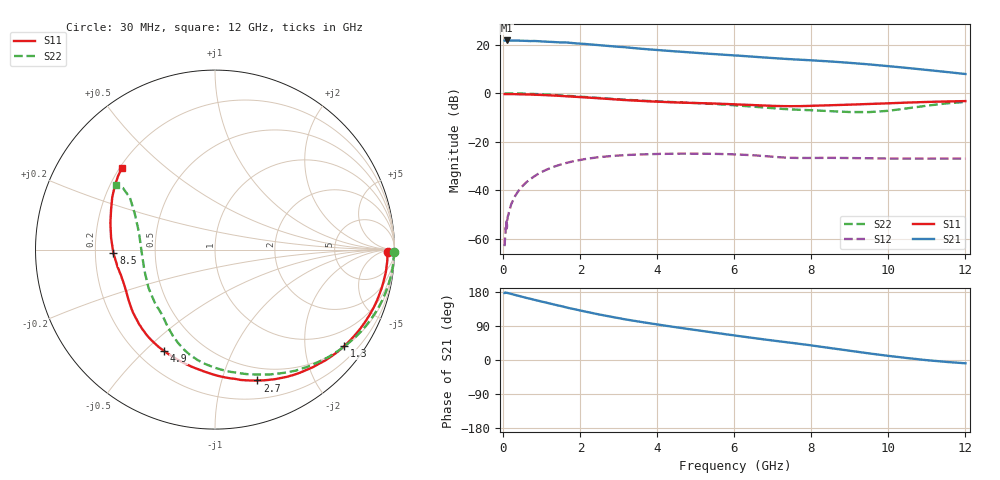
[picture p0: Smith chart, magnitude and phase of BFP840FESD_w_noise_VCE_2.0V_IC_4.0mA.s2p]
! Infineon Technologies  Discrete & RF Semiconductors
! BFP840FESD
! VCE =  2.0 V,  IC =  4.0 mA
! Common Emitter S-Parameters:  May 2012
# GHz  S  MA  R  50
!  f  S11  S21  S12  S22
! GHz  MAG  ANG  MAG  ANG  MAG  ANG  MAG  ANG
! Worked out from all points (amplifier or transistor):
!   103 points, 30 MHz to 12 GHz, reference 50 ohm
!   highest |S21| = 21.8 dB at 80 MHz (marker M1)
!   |S21| within 3 dB of that: start of sweep to 3.291 GHz
!   unconditionally stable (mu >= 1): 7.257 GHz to end of sweep
!   at 400 MHz: K = 0.07, MSG = 30.9 dB, |S12| = -40.1 dB
!   at 3.7 GHz: K = 0.31, MSG = 21.7 dB, |S12| = -25.2 dB
!   at 12 GHz: K = 1.30, MAG = 14.2 dB, |S12| = -27.0 dB
!   lowest NFmin = 0.53 dB at 450 MHz
!   S11 on the Smith chart (normalised r, x): 30 MHz: 45, -18; 1.3 GHz: 0.52, -2.92; 2.7 GHz: 0.37, -1.31; 4.9 GHz: 0.31, -0.58; 8.5 GHz: 0.28, -0.02; 12 GHz: 0.21, +0.36
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0.03  0.9624 -0.9  12.24 176.8  0.0007 84.7  0.9953 -0.7
0.04  0.9627 -1.2  12.23 176.7  0.001 72.2  0.9959 -0.9
0.05  0.9609 -1.5  12.28 178.1  0.0011 32.3  0.9965 -1.1
0.07  0.9621 -2.0  12.27 177.8  0.0014 91.1  0.9967 -1.6
0.08  0.9608 -2.3  12.3 177.4  0.0025 62.5  0.9961 -1.9
0.09  0.9613 -2.6  12.29 177.2  0.0017 72.9  0.9969 -2.0
0.14  0.9617 -4.1  12.24 176.1  0.0035 85.0  0.9964 -3.4
0.35  0.9563 -10.2  12.21 170.4  0.0087 82.0  0.9911 -8.5
0.8  0.9348 -23.0  11.99 158.9  0.0193 73.0  0.9669 -19.3
1.3  0.8986 -36.8  11.42 146.8  0.0303 62.9  0.9247 -31.2
1.6  0.8709 -45.2  11.24 139.6  0.0359 57.0  0.8937 -38.3
2.1  0.8241 -57.9  10.43 128.3  0.0436 47.6  0.84 -49.8
2.7  0.7663 -72.1  9.507 116.0  0.0498 37.6  0.7788 -62.3
3.4  0.7084 -87.2  8.542 103.3  0.0541 28.5  0.7194 -74.9
4.1  0.6657 -101.1  7.701 92.2  0.0563 21.2  0.6752 -85.6
4.9  0.6325 -116.6  6.93 80.4  0.0567 14.3  0.6335 -96.6
6.1  0.5867 -137.5  5.978 63.4  0.0545 5.4  0.5582 -111.8
7.2  0.5446 -156.5  5.202 48.8  0.0477 2.3  0.479 -126.4
8.5  0.5664 -178.0  4.529 31.4  0.0465 6.1  0.4274 -150.1
9.5  0.6015 165.7  3.944 17.4  0.0456 7.0  0.4089 -178.0
10.5  0.6429 152.9  3.325 5.0  0.0449 9.9  0.4903 155.8
12  0.6896 138.8  2.498 -8.7  0.0449 15.9  0.6622 146.8
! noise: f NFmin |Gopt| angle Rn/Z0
0.45  0.53  0.56  6  0.19
0.9  0.57  0.54  13  0.19
1.5  0.61  0.49  19  0.19
1.9  0.62  0.45  28  0.19
2.4  0.64  0.43  34  0.19
3.5  0.66  0.41  54  0.18
5.5  0.76  0.29  90  0.13
8  0.95  0.24  149  0.11
10  1.14  0.28  -158  0.1
12  1.34  0.45  -129  0.13
